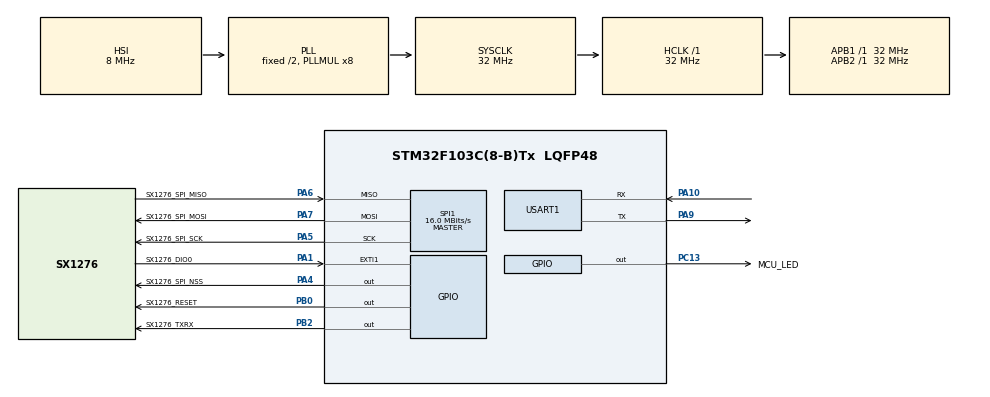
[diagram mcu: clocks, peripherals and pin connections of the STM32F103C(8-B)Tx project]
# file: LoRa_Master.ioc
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Mcu.Family=STM32F1
Mcu.Name=STM32F103C(8-B)Tx
Mcu.Package=LQFP48
NVIC.EXTI1_IRQn=true\:0\:0\:false\:false\:true\:true\:true
NVIC.PriorityGroup=NVIC_PRIORITYGROUP_4
NVIC.USART1_IRQn=true\:1\:0\:true\:false\:true\:true\:true
PA1.GPIO_Label=SX1276_DIO0
PA1.Signal=GPXTI1
PA10.Mode=Asynchronous
PA10.Signal=USART1_RX
PA4.GPIO_Label=SX1276_SPI_NSS
PA4.Signal=GPIO_Output
PA5.GPIO_Label=SX1276_SPI_SCK
PA5.Mode=Full_Duplex_Master
PA5.Signal=SPI1_SCK
PA6.GPIO_Label=SX1276_SPI_MISO
PA6.Mode=Full_Duplex_Master
PA6.Signal=SPI1_MISO
PA7.GPIO_Label=SX1276_SPI_MOSI
PA7.Mode=Full_Duplex_Master
PA7.Signal=SPI1_MOSI
PA9.Mode=Asynchronous
PA9.Signal=USART1_TX
PB0.GPIO_Label=SX1276_RESET
PB0.Signal=GPIO_Output
PB2.GPIO_Label=SX1276_TXRX
PB2.Signal=GPIO_Output
PC13-TAMPER-RTC.GPIO_Label=MCU_LED
PC13-TAMPER-RTC.Signal=GPIO_Output
ProjectManager.HeapSize=0x200
ProjectManager.StackSize=0x400
ProjectManager.TargetToolchain=MDK-ARM V5
RCC.AHBFreq_Value=32000000
RCC.APB1Freq_Value=32000000
RCC.APB1TimFreq_Value=32000000
RCC.APB2Freq_Value=32000000
RCC.APB2TimFreq_Value=32000000
RCC.HCLKFreq_Value=32000000
RCC.PLLMUL=RCC_PLL_MUL8
RCC.SYSCLKFreq_VALUE=32000000
RCC.SYSCLKSource=RCC_SYSCLKSOURCE_PLLCLK
RCC.USBFreq_Value=32000000
SPI1.CalculateBaudRate=16.0 MBits/s
SPI1.Direction=SPI_DIRECTION_2LINES
SPI1.Mode=SPI_MODE_MASTER
SPI1.VirtualType=VM_MASTER
USART1.VirtualMode=VM_ASYNC
VP_SYS_VS_ND.Mode=No_Debug
board=custom

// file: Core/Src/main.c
/* USER CODE BEGIN Header */
/**
  ******************************************************************************
  * @file           : main.c
  * @brief          : Main program body
  ******************************************************************************
  * @attention
  *
  * <h2><center>&copy; Copyright (c) 2021 STMicroelectronics.
  * All rights reserved.</center></h2>
  *
  * This software component is licensed by ST under BSD 3-Clause license,
  * the "License"; You may not use this file except in compliance with the
  * License. You may obtain a copy of the License at:
  *                        opensource.org/licenses/BSD-3-Clause
  *
  ******************************************************************************
  */
/* USER CODE END Header */
#include "main.h"
#include "spi.h"
#include "usart.h"
#include "gpio.h"
#include "stdio.h"

/* USER CODE BEGIN Includes */
#include "stask.h"
#include "base_usart.h"
#include "sx1276_user.h"
#include "sx1276.h"
#include "stdio.h"
/* USER CODE END Includes */

void SystemClock_Config(void);

int main(void)
{

  /* MCU Configuration--------------------------------------------------------*/

  /* Reset of all peripherals, Initializes the Flash interface and the Systick. */
  HAL_Init();

  /* Configure the system clock */
  SystemClock_Config();

  /* Initialize all configured peripherals */
  MX_GPIO_Init();
  MX_SPI1_Init();
  MX_USART1_UART_Init();
  /* USER CODE BEGIN 2 */
	//printf("Mode Start\r\n");
	Base_Usart1_Init();
	SX1276AppInit();
	uint8_t LoraVersion;
	LoraVersion = SX1276Read( REG_LR_VERSION );
	printf("Lora Version:%d!\r\n",LoraVersion);
	printf("Master Start!\r\n");
  /* USER CODE END 2 */

  /* Infinite loop */
  while (1)
  {
		spTaskScheduler();
  }
}

void SystemClock_Config(void)
{
  RCC_OscInitTypeDef RCC_OscInitStruct = {0};
  RCC_ClkInitTypeDef RCC_ClkInitStruct = {0};

  /** Initializes the RCC Oscillators according to the specified parameters
  * in the RCC_OscInitTypeDef structure.
  */
  RCC_OscInitStruct.OscillatorType = RCC_OSCILLATORTYPE_HSI;
  RCC_OscInitStruct.HSIState = RCC_HSI_ON;
  RCC_OscInitStruct.HSICalibrationValue = RCC_HSICALIBRATION_DEFAULT;
  RCC_OscInitStruct.PLL.PLLState = RCC_PLL_ON;
  RCC_OscInitStruct.PLL.PLLSource = RCC_PLLSOURCE_HSI_DIV2;
  RCC_OscInitStruct.PLL.PLLMUL = RCC_PLL_MUL8;
  if (HAL_RCC_OscConfig(&RCC_OscInitStruct) != HAL_OK)
  {
    Error_Handler();
  }
  /** Initializes the CPU, AHB and APB buses clocks
  */
  RCC_ClkInitStruct.ClockType = RCC_CLOCKTYPE_HCLK|RCC_CLOCKTYPE_SYSCLK
                              |RCC_CLOCKTYPE_PCLK1|RCC_CLOCKTYPE_PCLK2;
  RCC_ClkInitStruct.SYSCLKSource = RCC_SYSCLKSOURCE_PLLCLK;
  RCC_ClkInitStruct.AHBCLKDivider = RCC_SYSCLK_DIV1;
  RCC_ClkInitStruct.APB1CLKDivider = RCC_HCLK_DIV1;
  RCC_ClkInitStruct.APB2CLKDivider = RCC_HCLK_DIV1;

  if (HAL_RCC_ClockConfig(&RCC_ClkInitStruct, FLASH_LATENCY_1) != HAL_OK)
  {
    Error_Handler();
  }
}

/* USER CODE BEGIN 4 */
#ifdef __GNUC__
/* With GCC/RAISONANCE, small printf (option LD Linker->Libraries->Small printf
   set to 'Yes') calls __io_putchar() */
#define PUTCHAR_PROTOTYPE int __io_putchar(int ch)
#else
#define PUTCHAR_PROTOTYPE int fputc(int ch, FILE *f)
#endif
PUTCHAR_PROTOTYPE
{
    HAL_UART_Transmit(&huart1, (uint8_t *)&ch, 1, 0xFF);
    return ch;
}
/* USER CODE END 4 */

void Error_Handler(void)
{
}

/************************ (C) COPYRIGHT STMicroelectronics *****END OF FILE****/
